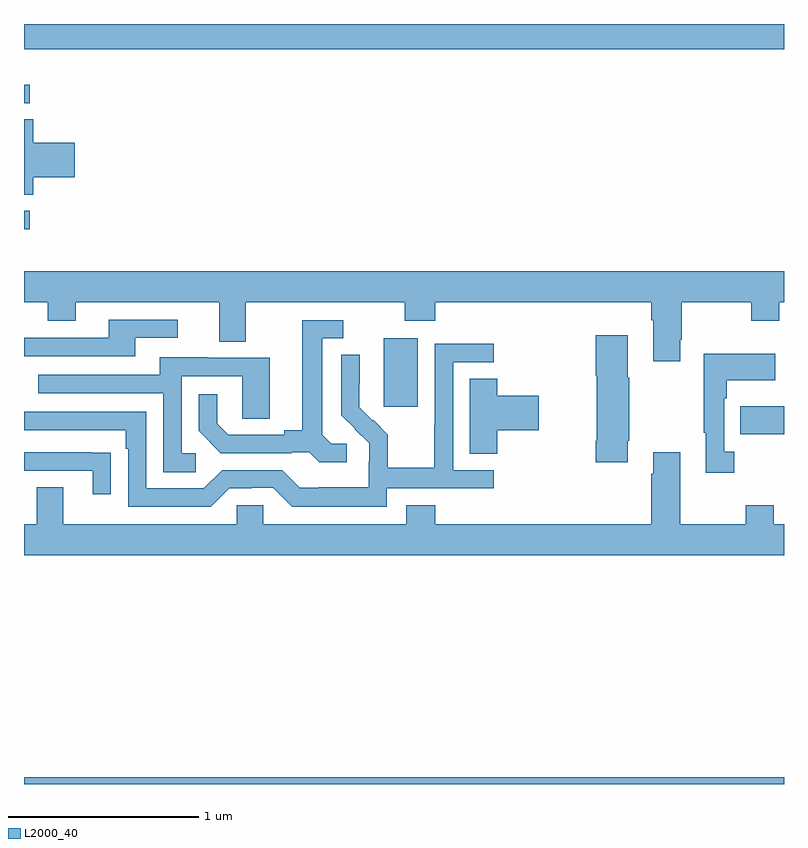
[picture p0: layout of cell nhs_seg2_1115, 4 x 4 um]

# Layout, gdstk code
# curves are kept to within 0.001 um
import gdstk
lib = gdstk.Library(unit=1e-6, precision=1e-09)
def R(c, l, rs):  # rectangles x0, y0, x1, y1
    for r in rs: c.add(gdstk.rectangle(r[:2], r[2:], *l))
def P(c, l, *ps):  # polygons
    for p in ps: c.add(gdstk.Polygon(p, *l))
L2000_40 = (2000, 40)

nhs_seg2_1115 = lib.new_cell('nhs_seg2_1115')
R(nhs_seg2_1115, L2000_40, [(169,611.8,173,611.836), (172.771,613.642,173,613.789), (170.894,613.785,171.073,614.146), (169,614.719,169.03,614.817), (169,615.384,169.03,615.48), (169,615.668,173,615.8)])
P(nhs_seg2_1115, L2000_40, [(169.049,614.993),(169.267,614.993),(169.267,615.176),(169.049,615.176),(169.049,615.299),(169,615.299),(169,614.902),(169.049,614.902)],
  [(172.453,614.137),(172.461,614.137),(172.461,614.336),(172.828,614.336),(172.828,614.237),(172.974,614.237),(172.974,614.336),(173,614.336),(173,614.5),(169,614.5),(169,614.336),(169.126,614.336),(169.126,614.237),(169.273,614.237),(169.273,614.336),(170.027,614.336),(170.027,614.128),(170.167,614.128),(170.167,614.336),(171.004,614.336),(171.004,614.237),(171.164,614.237),(171.164,614.336),(172.301,614.336),(172.301,614.24),(172.313,614.24),(172.313,614.025),(172.453,614.025)],
  [(169.585,614.148),(169.81,614.148),(169.81,614.244),(169.445,614.244),(169.445,614.148),(169,614.148),(169,614.052),(169.585,614.052)],
  [(170.698,613.59),(170.616,613.59),(170.569,613.637),(170.569,614.145),(170.68,614.145),(170.68,614.241),(170.465,614.241),(170.465,613.661),(170.369,613.661),(170.369,613.638),(170.074,613.638),(170.017,613.695),(170.017,613.852),(169.92,613.852),(169.92,613.658),(170.036,613.542),(170.408,613.542),(170.408,613.545),(170.502,613.545),(170.554,613.493),(170.698,613.493)],
  [(172.177,613.606),(172.185,613.606),(172.185,613.937),(172.177,613.937),(172.177,614.161),(172.01,614.161),(172.01,613.948),(172.015,613.948),(172.015,613.606),(172.01,613.606),(172.01,613.494),(172.177,613.494)],
  [(170.91,613.356),(171.472,613.356),(171.472,613.452),(171.258,613.452),(171.258,614.019),(171.472,614.019),(171.472,614.118),(171.162,614.118),(171.162,613.688),(171.16,613.688),(171.16,613.465),(170.915,613.465),(170.915,613.639),(170.838,613.716),(170.835,613.713),(170.765,613.784),(170.766,614.06),(170.67,614.06),(170.67,613.742),(170.816,613.594),(170.816,613.497),(170.814,613.497),(170.814,613.363),(170.551,613.363),(170.551,613.359),(170.451,613.359),(170.358,613.452),(170.043,613.452),(169.947,613.356),(169.644,613.356),(169.644,613.758),(169,613.758),(169,613.662),(169.535,613.662),(169.535,613.565),(169.548,613.565),(169.548,613.26),(169.983,613.26),(170.079,613.356),(170.198,613.356),(170.198,613.359),(170.313,613.359),(170.413,613.259),(170.91,613.259)],
  [(172.738,613.55),(172.686,613.55),(172.686,613.829),(172.699,613.829),(172.699,613.925),(172.955,613.925),(172.955,614.065),(172.578,614.065),(172.578,613.649),(172.589,613.649),(172.589,613.437),(172.738,613.437)],
  [(169.903,613.542),(169.83,613.542),(169.83,613.947),(170.148,613.947),(170.148,613.723),(170.293,613.723),(170.293,614.043),(169.969,614.043),(169.969,614.047),(169.715,614.047),(169.715,613.953),(169.075,613.953),(169.075,613.857),(169.734,613.857),(169.734,613.441),(169.903,613.441)],
  [(171.491,613.661),(171.709,613.661),(171.709,613.844),(171.491,613.844),(171.491,613.934),(171.347,613.934),(171.347,613.537),(171.491,613.537)],
  [(173,613.168),(172.945,613.168),(172.945,613.267),(172.798,613.267),(172.798,613.168),(172.453,613.168),(172.453,613.546),(172.313,613.546),(172.313,613.433),(172.301,613.433),(172.301,613.168),(171.164,613.168),(171.164,613.267),(171.011,613.267),(171.011,613.168),(170.259,613.168),(170.259,613.266),(170.121,613.266),(170.121,613.168),(169.207,613.168),(169.207,613.363),(169.067,613.363),(169.067,613.168),(169,613.168),(169,613.004),(173,613.004)],
  [(169.457,613.544),(169.355,613.544),(169.355,613.545),(169,613.545),(169,613.449),(169.361,613.449),(169.361,613.326),(169.457,613.326)])

lib.write_gds('nhs_seg2_1115.gds')
